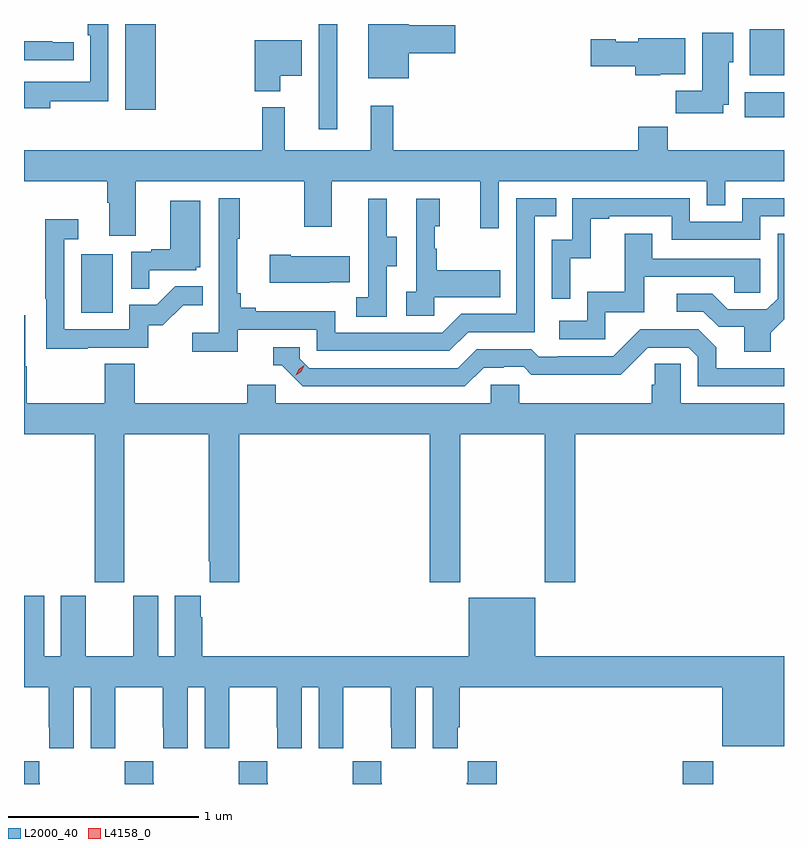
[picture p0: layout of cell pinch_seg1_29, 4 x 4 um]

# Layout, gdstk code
import gdstk
lib = gdstk.Library(unit=1e-6, precision=1e-09)
def R(c, l, rs):  # rectangles x0, y0, x1, y1
    for r in rs: c.add(gdstk.rectangle(r[:2], r[2:], *l))
def P(c, l, *ps):  # polygons
    for p in ps: c.add(gdstk.Polygon(p, *l))
L2000_40 = (2000, 40)
L4158_0 = (4158, 0)

pinch_seg1_29 = lib.new_cell('pinch_seg1_29')
R(pinch_seg1_29, L2000_40, [(1131.965,568.54,1132.125,568.66), (1128.8,571.02,1128.964,571.327), (1130.049,571.986,1130.146,572.54), (1132.292,572.048,1132.498,572.182), (1129.031,572.088,1129.192,572.54), (1132.319,572.27,1132.498,572.512)])
P(pinch_seg1_29, L2000_40, [(1130.524,572.387),(1130.767,572.387),(1130.767,572.534),(1130.524,572.534),(1130.524,572.54),(1130.309,572.54),(1130.309,572.255),(1130.524,572.255)],
  [(1128.637,572.134),(1128.942,572.134),(1128.942,572.54),(1128.833,572.54),(1128.833,572.48),(1128.846,572.48),(1128.846,572.235),(1128.533,572.235),(1128.533,572.236),(1128.498,572.236),(1128.498,572.096),(1128.637,572.096)],
  [(1132.177,572.114),(1132.207,572.114),(1132.207,572.34),(1132.231,572.34),(1132.231,572.494),(1132.067,572.494),(1132.067,572.188),(1131.928,572.188),(1131.928,572.07),(1132.177,572.07)],
  [(1131.846,572.276),(1131.979,572.276),(1131.979,572.464),(1131.732,572.464),(1131.732,572.446),(1131.612,572.446),(1131.612,572.459),(1131.48,572.459),(1131.48,572.317),(1131.716,572.317),(1131.716,572.27),(1131.846,572.27)],
  [(1129.846,572.267),(1129.96,572.267),(1129.96,572.455),(1129.712,572.455),(1129.712,572.186),(1129.846,572.186)],
  [(1128.76,572.445),(1128.647,572.445),(1128.647,572.45),(1128.498,572.45),(1128.498,572.349),(1128.76,572.349)],
  [(1129.087,571.712),(1129.972,571.712),(1129.972,571.473),(1130.119,571.473),(1130.119,571.712),(1130.9,571.712),(1130.9,571.464),(1130.997,571.464),(1130.997,571.712),(1132.092,571.712),(1132.092,571.585),(1132.188,571.585),(1132.188,571.712),(1132.498,571.712),(1132.498,571.876),(1131.887,571.876),(1131.887,572),(1131.731,572),(1131.731,571.876),(1130.441,571.876),(1130.441,572.11),(1130.324,572.11),(1130.324,571.876),(1129.871,571.876),(1129.871,572.101),(1129.753,572.101),(1129.753,571.876),(1128.498,571.876),(1128.498,571.712),(1128.935,571.712),(1128.935,571.6),(1128.947,571.6),(1128.947,571.426),(1129.087,571.426)],
  [(1129.622,570.93),(1130.04,570.93),(1130.04,570.819),(1130.737,570.819),(1130.836,570.918),(1131.186,570.918),(1131.186,571.527),(1131.299,571.527),(1131.299,571.623),(1131.09,571.623),(1131.09,571.014),(1130.799,571.014),(1130.7,570.915),(1130.136,570.915),(1130.136,571.027),(1129.717,571.027),(1129.717,571.046),(1129.64,571.046),(1129.64,571.123),(1129.621,571.123),(1129.621,571.411),(1129.633,571.411),(1129.633,571.624),(1129.524,571.624),(1129.524,570.916),(1129.383,570.916),(1129.383,570.814),(1129.622,570.814)],
  [(1131.372,571.307),(1131.482,571.307),(1131.482,571.515),(1131.577,571.515),(1131.577,571.527),(1131.906,571.527),(1131.906,571.404),(1132.374,571.404),(1132.374,571.527),(1132.498,571.527),(1132.498,571.623),(1132.278,571.623),(1132.278,571.5),(1132.002,571.5),(1132.002,571.623),(1131.384,571.623),(1131.384,571.404),(1131.276,571.404),(1131.276,571.095),(1131.372,571.095)],
  [(1130.658,571.103),(1131.005,571.103),(1131.005,571.243),(1130.671,571.243),(1130.671,571.358),(1130.661,571.358),(1130.661,571.476),(1130.686,571.476),(1130.686,571.621),(1130.562,571.621),(1130.562,571.13),(1130.511,571.13),(1130.511,571.005),(1130.658,571.005)],
  [(1130.406,571.264),(1130.461,571.264),(1130.461,571.419),(1130.407,571.419),(1130.407,571.621),(1130.309,571.621),(1130.309,571.407),(1130.31,571.407),(1130.31,571.103),(1130.247,571.103),(1130.247,571),(1130.406,571)],
  [(1129.157,571.245),(1129.404,571.245),(1129.404,571.26),(1129.426,571.26),(1129.426,571.609),(1129.268,571.609),(1129.268,571.354),(1129.169,571.354),(1129.169,571.341),(1129.062,571.341),(1129.062,571.147),(1129.157,571.147)],
  [(1128.833,570.837),(1129.152,570.837),(1129.152,570.954),(1129.228,570.954),(1129.335,571.061),(1129.439,571.061),(1129.439,571.16),(1129.295,571.16),(1129.197,571.062),(1129.053,571.062),(1129.053,570.933),(1128.711,570.933),(1128.711,571.407),(1128.784,571.407),(1128.784,571.513),(1128.61,571.513),(1128.61,571.093),(1128.615,571.093),(1128.615,570.832),(1128.833,570.832)],
  [(1131.558,571.023),(1131.763,571.023),(1131.763,571.209),(1132.237,571.209),(1132.237,571.125),(1132.374,571.125),(1132.374,571.305),(1131.805,571.305),(1131.805,571.435),(1131.661,571.435),(1131.661,571.132),(1131.462,571.132),(1131.462,570.978),(1131.315,570.978),(1131.315,570.882),(1131.558,570.882)],
  [(1132.429,570.916),(1132.498,570.985),(1132.498,571.435),(1132.464,571.435),(1132.464,571.095),(1132.407,571.038),(1132.201,571.038),(1132.12,571.119),(1131.933,571.119),(1131.933,571.026),(1132.074,571.026),(1132.154,570.946),(1132.289,570.946),(1132.289,570.814),(1132.429,570.814)],
  [(1130.105,571.181),(1130.213,571.181),(1130.213,571.318),(1129.903,571.318),(1129.903,571.326),(1129.791,571.326),(1129.791,571.178),(1130.105,571.178)],
  [(1129.026,570.38),(1129.471,570.38),(1129.471,569.713),(1129.475,569.713),(1129.475,569.601),(1129.631,569.601),(1129.631,570.38),(1130.633,570.38),(1130.633,569.601),(1130.793,569.601),(1130.793,570.38),(1131.238,570.38),(1131.238,569.601),(1131.398,569.601),(1131.398,570.38),(1132.498,570.38),(1132.498,570.544),(1131.954,570.544),(1131.954,570.752),(1131.817,570.752),(1131.817,570.642),(1131.803,570.642),(1131.803,570.544),(1131.105,570.544),(1131.105,570.642),(1130.955,570.642),(1130.955,570.544),(1129.824,570.544),(1129.824,570.642),(1129.673,570.642),(1129.673,570.544),(1129.082,570.544),(1129.082,570.752),(1128.922,570.752),(1128.922,570.544),(1128.513,570.544),(1128.513,570.74),(1128.505,570.74),(1128.505,571.006),(1128.498,571.006),(1128.498,570.38),(1128.871,570.38),(1128.871,569.601),(1129.026,569.601)],
  [(1130.917,570.732),(1131.024,570.732),(1131.024,570.735),(1131.127,570.735),(1131.169,570.693),(1131.402,570.693),(1131.402,570.695),(1131.638,570.695),(1131.78,570.837),(1131.996,570.837),(1132.044,570.789),(1132.044,570.633),(1132.498,570.633),(1132.498,570.729),(1132.141,570.729),(1132.141,570.839),(1132.047,570.933),(1131.741,570.933),(1131.6,570.792),(1131.307,570.792),(1131.307,570.789),(1131.208,570.789),(1131.169,570.828),(1130.88,570.828),(1130.781,570.729),(1129.998,570.729),(1129.95,570.777),(1129.95,570.84),(1129.811,570.84),(1129.811,570.744),(1129.854,570.744),(1129.965,570.633),(1130.818,570.633)],
  [(1128.604,569.53),(1128.498,569.53),(1128.498,569.048),(1128.629,569.048),(1128.629,568.84),(1128.63,568.84),(1128.63,568.728),(1128.76,568.728),(1128.76,569.048),(1128.848,569.048),(1128.848,568.728),(1128.978,568.728),(1128.978,568.84),(1128.979,568.84),(1128.979,569.048),(1129.229,569.048),(1129.229,568.84),(1129.23,568.84),(1129.23,568.728),(1129.36,568.728),(1129.36,569.048),(1129.448,569.048),(1129.448,568.728),(1129.578,568.728),(1129.578,568.84),(1129.579,568.84),(1129.579,569.048),(1129.829,569.048),(1129.829,568.84),(1129.83,568.84),(1129.83,568.728),(1129.96,568.728),(1129.96,569.048),(1130.048,569.048),(1130.048,568.728),(1130.178,568.728),(1130.178,568.84),(1130.179,568.84),(1130.179,569.048),(1130.429,569.048),(1130.429,568.84),(1130.43,568.84),(1130.43,568.728),(1130.56,568.728),(1130.56,569.048),(1130.648,569.048),(1130.648,568.728),(1130.782,568.728),(1130.782,568.84),(1130.792,568.84),(1130.792,569.048),(1132.172,569.048),(1132.172,568.739),(1132.498,568.739),(1132.498,569.212),(1131.19,569.212),(1131.19,569.521),(1130.84,569.521),(1130.84,569.212),(1129.436,569.212),(1129.436,569.417),(1129.429,569.417),(1129.429,569.53),(1129.292,569.53),(1129.292,569.212),(1129.204,569.212),(1129.204,569.53),(1129.073,569.53),(1129.073,569.212),(1128.823,569.212),(1128.823,569.53),(1128.692,569.53),(1128.692,569.212),(1128.604,569.212)],
  [(1130.382,568.547),(1130.379,568.547),(1130.379,568.66),(1130.229,568.66),(1130.229,568.547),(1130.227,568.547),(1130.227,568.54),(1130.382,568.54)],
  [(1129.182,568.547),(1129.179,568.547),(1129.179,568.66),(1129.029,568.66),(1129.029,568.547),(1129.027,568.547),(1129.027,568.54),(1129.182,568.54)],
  [(1129.782,568.547),(1129.779,568.547),(1129.779,568.66),(1129.629,568.66),(1129.629,568.547),(1129.627,568.547),(1129.627,568.54),(1129.782,568.54)],
  [(1130.987,568.66),(1130.833,568.66),(1130.833,568.547),(1130.827,568.547),(1130.827,568.54),(1130.987,568.54)],
  [(1128.582,568.547),(1128.579,568.547),(1128.579,568.66),(1128.498,568.66),(1128.498,568.54),(1128.582,568.54)])
P(pinch_seg1_29, L4158_0, [(1129.927,570.691),(1129.927,570.691),(1129.943,570.724),(1129.974,570.743),(1129.974,570.743),(1129.974,570.743),(1129.958,570.71),(1129.927,570.691)])

lib.write_gds('pinch_seg1_29.gds')
